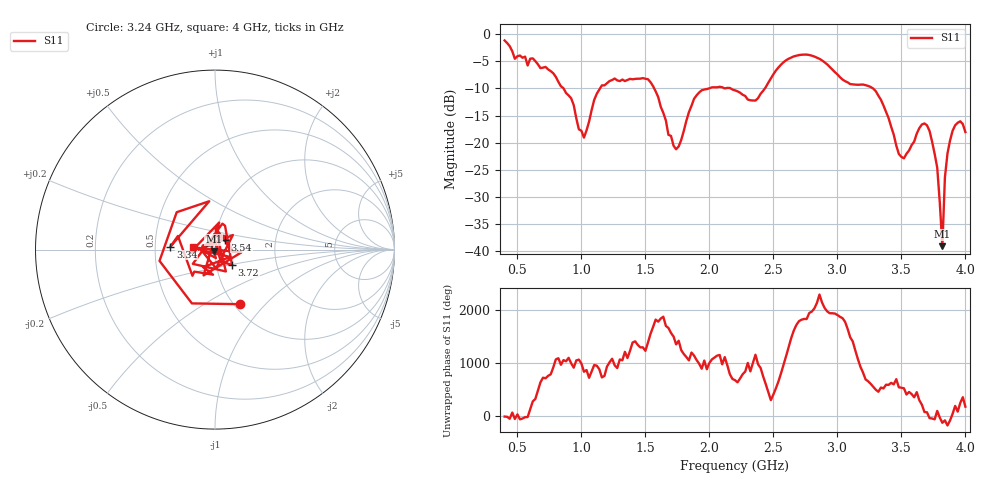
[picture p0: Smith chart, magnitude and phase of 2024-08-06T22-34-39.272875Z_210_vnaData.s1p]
!Created with skrf (http://scikit-rf.org).
# Hz S RI R 50.0
!freq ReS11 ImS11
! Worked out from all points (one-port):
!   181 points, 400 MHz to 4 GHz, reference 50 ohm
!   lowest |S11| = -39.1 dB at 3.82 GHz (marker M1), VSWR 1.02, Z = 49.3 - j0.84 ohm
!   |S11| at or under -10 dB: 861 MHz to 1.146 GHz (284.7 MHz wide, 28.4 % of centre); 1.569 GHz to 1.996 GHz (427.2 MHz wide, 24 % of centre); 3.278 GHz to end of sweep (the widest 3 of 4)
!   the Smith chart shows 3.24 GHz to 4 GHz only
!   S11 on the Smith chart (normalised r, x): 3.24 GHz: 1.06, -0.73; 3.34 GHz: 0.60, +0.02; 3.54 GHz: 1.11, +0.12; 3.72 GHz: 1.19, -0.21; 4 GHz: 0.78, +0.02
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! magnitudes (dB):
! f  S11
! 400 MHz  -1.1
! 480 MHz  -4.5
! 860 MHz  -10.0
! 1.02 GHz  -19.1
! 1.16 GHz  -9.4
! 1.3 GHz  -8.6
! 1.52 GHz  -8.3
! 1.68 GHz  -18.6
! 1.76 GHz  -20.7
! 1.92 GHz  -10.7
! 2.2 GHz  -10.3
! 2.36 GHz  -12.2
! 2.66 GHz  -4.1
! 2.86 GHz  -4.5
! 3.1 GHz  -9.2
! 3.24 GHz  -9.5
! 3.34 GHz  -12.1
! 3.48 GHz  -22.1
! 3.54 GHz  -22.1
! 3.56 GHz  -21.4
! 3.66 GHz  -16.7
! 3.72 GHz  -17.9
! 3.78 GHz  -24.6
! 3.82 GHz  -39.1
! 3.84 GHz  -26.4
! 3.88 GHz  -19.6
! 3.96 GHz  -16.1
! 4 GHz  -18.1
